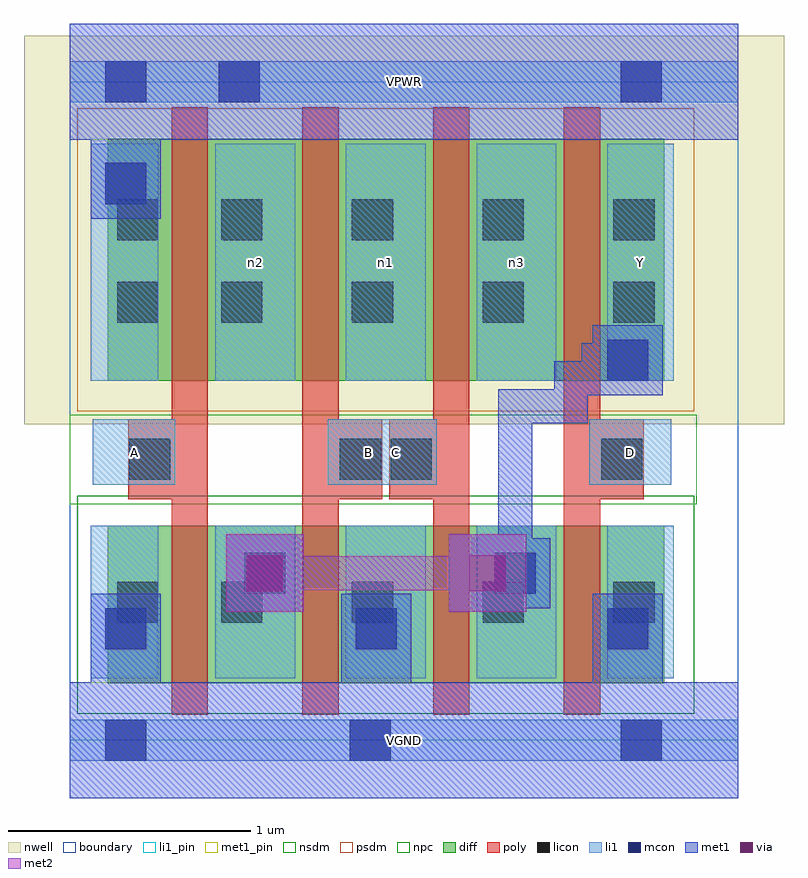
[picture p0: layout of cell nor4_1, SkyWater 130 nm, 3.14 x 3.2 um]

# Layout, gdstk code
import gdstk
lib = gdstk.Library(unit=1e-6, precision=1e-09)
def R(c, l, rs):  # rectangles x0, y0, x1, y1
    for r in rs: c.add(gdstk.rectangle(r[:2], r[2:], *l))
def A(c, l, x, y, w, h, nx, ny, dx, dy):  # array of equal rectangles
    R(c, l, [(x+i*dx, y+j*dy, x+i*dx+w, y+j*dy+h) for i in range(nx) for j in range(ny)])
nwell = (64, 20)
diff = (65, 20)
poly = (66, 20)
licon = (66, 44)
li1_pin = (67, 16)
li1 = (67, 20)
mcon = (67, 44)
met1_pin = (68, 16)
met1 = (68, 20)
via = (68, 44)
met2 = (69, 20)
nsdm = (93, 44)
psdm = (94, 20)
npc = (95, 20)
boundary = (235, 4)

nor4_1 = lib.new_cell('nor4_1')
R(nor4_1, nwell, [(-0.19,1.305,2.95,2.91), (0,1.305,2.76,2.91)])
R(nor4_1, diff, [(0.155,0.235,2.455,0.885), (0.155,1.485,2.455,2.485)])
A(nor4_1, poly, 0.42, 0.105, 0.15, 2.51, 4, 1, 0.54, 0)
R(nor4_1, poly, [(0.24,0.995,0.57,1.325), (0.96,0.995,1.29,1.325), (1.32,0.995,1.65,1.325), (2.04,0.995,2.37,1.325)])
A(nor4_1, licon, 0.625, 0.485, 0.17, 0.17, 4, 2, 0.54, 1.24)
A(nor4_1, licon, 0.625, 2.065, 0.17, 0.17, 4, 1, 0.54, 0)
R(nor4_1, licon, [(0.195,0.485,0.365,0.655), (0.245,1.075,0.415,1.245), (1.115,1.075,1.285,1.245), (1.325,1.075,1.495,1.245), (2.195,1.075,2.365,1.245), (0.195,1.725,0.365,1.895), (0.195,2.065,0.365,2.235)])
R(nor4_1, li1_pin, [(0.095,1.055,0.435,1.325), (1.065,1.055,1.405,1.325), (1.175,1.055,1.515,1.325), (2.145,1.055,2.485,1.325), (2.22,1.485,2.495,2.465)])
A(nor4_1, li1, 0.6, 0.255, 0.33, 0.63, 3, 1, 0.54, 0)
A(nor4_1, li1, 0.6, 1.485, 0.33, 0.98, 3, 1, 0.54, 0)
R(nor4_1, li1, [(0,-0.085,2.76,0.085), (0.085,0.255,0.365,0.885), (2.22,0.255,2.495,0.885), (0.095,1.055,0.435,1.325), (1.065,1.055,1.405,1.325), (1.175,1.055,1.515,1.325), (2.145,1.055,2.485,1.325), (0.085,1.485,0.365,2.465), (2.22,1.485,2.495,2.465), (0,2.635,2.76,2.805)])
R(nor4_1, mcon, [(0.145,-0.085,0.315,0.085), (1.155,-0.085,1.325,0.085), (2.275,-0.085,2.445,0.085), (0.145,0.375,0.315,0.545), (1.18,0.375,1.35,0.545), (2.22,0.375,2.39,0.545), (0.72,0.605,0.89,0.775), (1.755,0.605,1.925,0.775), (2.22,1.485,2.39,1.655), (0.145,2.215,0.315,2.385), (0.145,2.635,0.315,2.805), (0.145,2.635,0.315,2.805), (0.615,2.635,0.785,2.805), (2.275,2.635,2.445,2.805)])
R(nor4_1, met1_pin, [(0,-0.24,2.76,0.24), (0,2.48,2.76,2.96)])
R(nor4_1, met1, [(0,-0.24,2.76,0.24), (0.275,-0.07,0.415,0.185), (0.275,-0.07,1.335,0.07), (1.195,-0.07,1.335,0.53), (1.195,-0.07,2.37,0.07), (2.23,-0.07,2.37,0.53), (0.16,0.045,0.3,0.185), (0.16,0.045,0.3,0.53), (0.16,0.045,0.415,0.185), (0.16,0.185,0.375,0.315), (0.275,0.185,0.375,0.315), (0.085,0.24,0.375,0.315), (1.12,0.24,1.41,0.315), (2.16,0.24,2.45,0.315), (0.085,0.315,0.375,0.605), (1.12,0.315,1.41,0.605), (2.16,0.315,2.45,0.605), (2.23,0.39,2.375,0.53), (0.645,0.53,0.965,0.85), (1.565,0.53,1.885,0.85), (0.66,0.545,0.95,0.835), (1.695,0.545,1.985,0.835), (1.655,0.62,1.91,0.76), (1.77,0.62,1.91,1.45), (1.77,1.31,2.14,1.45), (2,1.31,2.14,1.565), (2,1.425,2.255,1.565), (2.115,1.425,2.255,1.64), (2.16,1.425,2.45,1.715), (2.115,1.5,2.375,1.64), (0.085,2.155,0.375,2.445), (0.16,2.23,0.3,2.6), (0.085,2.445,0.375,2.48), (0.085,2.445,0.375,2.575), (0.16,2.46,0.3,2.79), (0,2.48,2.76,2.96), (0.085,2.575,0.375,2.865)])
R(nor4_1, via, [(0.73,0.615,0.88,0.765), (1.65,0.615,1.8,0.765)])
R(nor4_1, met2, [(0.645,0.53,0.965,0.85), (1.565,0.53,1.885,0.85), (0.735,0.62,1.795,0.76)])
R(nor4_1, nsdm, [(0.03,0.11,2.58,1.01)])
R(nor4_1, psdm, [(0.03,1.36,2.58,2.61)])
R(nor4_1, npc, [(0,0.975,2.59,1.345)])
R(nor4_1, boundary, [(0,0,2.76,2.72)])
nor4_1.add(gdstk.Label('A', (0.265,1.19), layer=67, texttype=5))
nor4_1.add(gdstk.Label('B', (1.235,1.19), layer=67, texttype=5))
nor4_1.add(gdstk.Label('C', (1.345,1.19), layer=67, texttype=5))
nor4_1.add(gdstk.Label('D', (2.315,1.19), layer=67, texttype=5))
nor4_1.add(gdstk.Label('Y', (2.357,1.975), layer=67, texttype=5))
nor4_1.add(gdstk.Label('n2', (0.765,1.975), layer=67, texttype=5))
nor4_1.add(gdstk.Label('n1', (1.305,1.975), layer=67, texttype=5))
nor4_1.add(gdstk.Label('n3', (1.845,1.975), layer=67, texttype=5))
nor4_1.add(gdstk.Label('VPWR', (1.38,2.72), layer=68, texttype=5))
nor4_1.add(gdstk.Label('VGND', (1.38,0), layer=68, texttype=5))
nor4_1.add(gdstk.Label('A', (0.265,1.19), layer=67, texttype=16))
nor4_1.add(gdstk.Label('B', (1.235,1.19), layer=67, texttype=16))
nor4_1.add(gdstk.Label('C', (1.345,1.19), layer=67, texttype=16))
nor4_1.add(gdstk.Label('D', (2.315,1.19), layer=67, texttype=16))
nor4_1.add(gdstk.Label('Y', (2.357,1.975), layer=67, texttype=16))
nor4_1.add(gdstk.Label('VPWR', (1.38,2.72), layer=68, texttype=16))
nor4_1.add(gdstk.Label('VGND', (1.38,0), layer=68, texttype=16))

lib.write_gds('nor4_1.gds')
